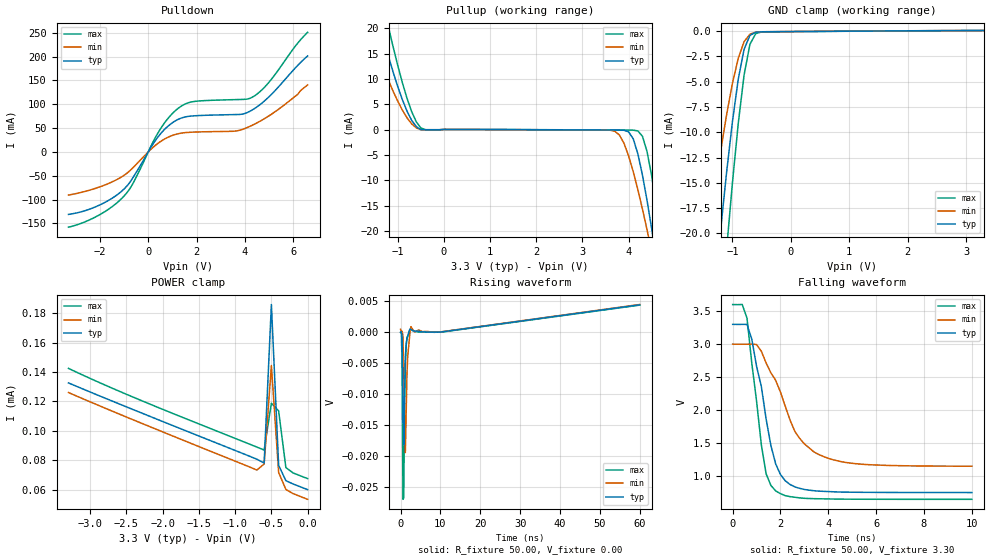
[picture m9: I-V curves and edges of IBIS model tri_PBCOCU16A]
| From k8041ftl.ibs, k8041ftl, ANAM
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|   Model tri_PBCOCU16A
[Model]   tri_PBCOCU16A
Model_type   I/O
Polarity   Non-Inverting
Enable   Active-Low
Vinl =   0.80V
Vinh =   2.00V
Vmeas =  1.50V
C_comp   7.13e-12F   7.13e-12F   7.13e-12F
[Temperature Range]   25   125   0
[Voltage Range]   3.30V   3.00V   3.60V
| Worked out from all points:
|   slope of the pulldown table from 0 to 0.495 V, typ, clamps not added: 13.3 ohm
|   slope of the pullup table from 0 to 0.495 V, typ, clamps not added: 52.4 kohm
|   GND clamp passes 1 mA (typ) near -0.74 V on its own axis
|   falling waveform, R_fixture 50.00, V_fixture 3.30: 20-80 % time 806ps typ, 1.41ns min, 594ps max; typ from 3.3 V to 0.751 V
[POWER_clamp]
| voltage   I(typ)   I(min)   I(max)
-3.3V     132.5uA    126uA      142.4uA
-2.3V     112.3uA    105.3uA    120.7uA
-700mV    80.69uA    73.34uA    88.95uA
-600mV    78.11uA    77.44uA    86.92uA
-500mV    185.8uA    144.3uA    118.7uA
-400mV    76.55uA    71.67uA    113.5uA
-300mV    66.14uA    60.14uA    75.01uA
-200mV    63.86uA    57.32uA    71.36uA
0V        60.04uA    53.45uA    67.52uA
[GND_clamp]
| voltage   I(typ)   I(min)   I(max)
-3.3V     -167.1mA   -116.3mA   -199.9mA
-1.4V     -31.88mA   -19.82mA   -43.87mA
-1.2V     -19.61mA   -11.84mA   -28.74mA
-1.1V     -14.02mA   -8.298mA   -21.66mA
-1V       -8.987mA   -5.188mA   -15.05mA
-900mV    -4.77mA    -2.693mA   -9.149mA
-800mV    -1.799mA   -1.046mA   -4.346mA
-700mV    -425.5uA   -303.1uA   -1.298mA
-600mV    -109uA     -103.3uA   -243.7uA
-500mV    -67.58uA   -65.5uA    -81.88uA
3.3V      60.04uA    60.14uA    61.81uA
[Pullup]
| voltage   I(typ)   I(min)   I(max)
-3.3V     90.43mA    69.39mA    108.6mA
-1.7V     31.57mA    21.86mA    41.13mA
-1.4V     20.95mA    14.29mA    28.29mA
-1.2V     14.37mA    9.671mA    20.13mA
-700mV    1.843mA    1.149mA    3.562mA
-400mV    526.2nA    396.9nA    980.8nA
3.7V      -56.9uA    -295uA     -49.61uA
4V        -415.7uA   -5.149mA   -61.1uA
4.2V      -4.731mA   -11.78mA   -236.3uA
4.5V      -19.52mA   -24.04mA   -9.095mA
4.7V      -31.77mA   -33.12mA   -21.57mA
6.6V      -166.8mA   -132.6mA   -174.9mA
[Pulldown]
| voltage   I(typ)   I(min)   I(max)
-3.3V     -131mA     -90.44mA   -157.8mA
-2V       -111mA     -73.19mA   -131.4mA
-1V       -77.72mA   -49.02mA   -92.52mA
-600mV    -51.41mA   -31.43mA   -63.1mA
400mV     31.1mA     17.94mA    39.52mA
800mV     53.22mA    30.32mA    69.16mA
1.2V      67.35mA    37.71mA    89.84mA
1.9V      75.76mA    41.65mA    105.8mA
3.6V      78.4mA     43.72mA    109.8mA
4.3V      87.83mA    55.77mA    114.6mA
5V        115.7mA    75.72mA    146.2mA
6.6V      201.4mA    140.6mA    250.9mA
[Ramp]
| variable   typ   min   max
dV/dt_r   0.01/3.41e-10   0.01/5.65e-10   0.02/3.38e-10
dV/dt_f   1.53/8.00e-10   1.11/1.40e-09   1.77/5.81e-10
R_load = 50.00
[Rising Waveform]
R_fixture = 50.00
V_fixture = 0.00
V_fixture_min = 0.00
V_fixture_max = 0.00
| time   V(typ)   V(min)   V(max)
0s        0V         506.7uV    0V
200ps     115.8uV    106.7uV    73.25uV
400ps     -900.3uV   172.6uV    -6.402mV
600ps     -11.64mV   -709uV     -27mV
800ps     -18.18mV   -6.748mV   -26.75mV
1ns       -10.41mV   -13.47mV   -11.06mV
1.2ns     -3.956mV   -19.45mV   -5.354mV
1.6ns     -1.054mV   -6.838mV   -895uV
2.4ns     564.6uV    185.1uV    343.8uV
60ns      4.45mV     4.5mV      4.4mV
[Falling Waveform]
R_fixture = 50.00
V_fixture = 3.30
V_fixture_min = 3.00
V_fixture_max = 3.60
| time   V(typ)   V(min)   V(max)
0s        3.3V       3V         3.6V
400ps     3.3V       2.999V     3.601V
600ps     3.299V     2.999V     3.395V
1.2ns     2.358V     2.893V     1.473V
1.4ns     1.863V     2.714V     1.034V
1.8ns     1.185V     2.452V     776.1mV
2.6ns     837.6mV    1.677V     679.7mV
3.6ns     772.5mV    1.328V     657.1mV
5.4ns     754.8mV    1.18V      649.7mV
10ns      751.2mV    1.15V      648.4mV
